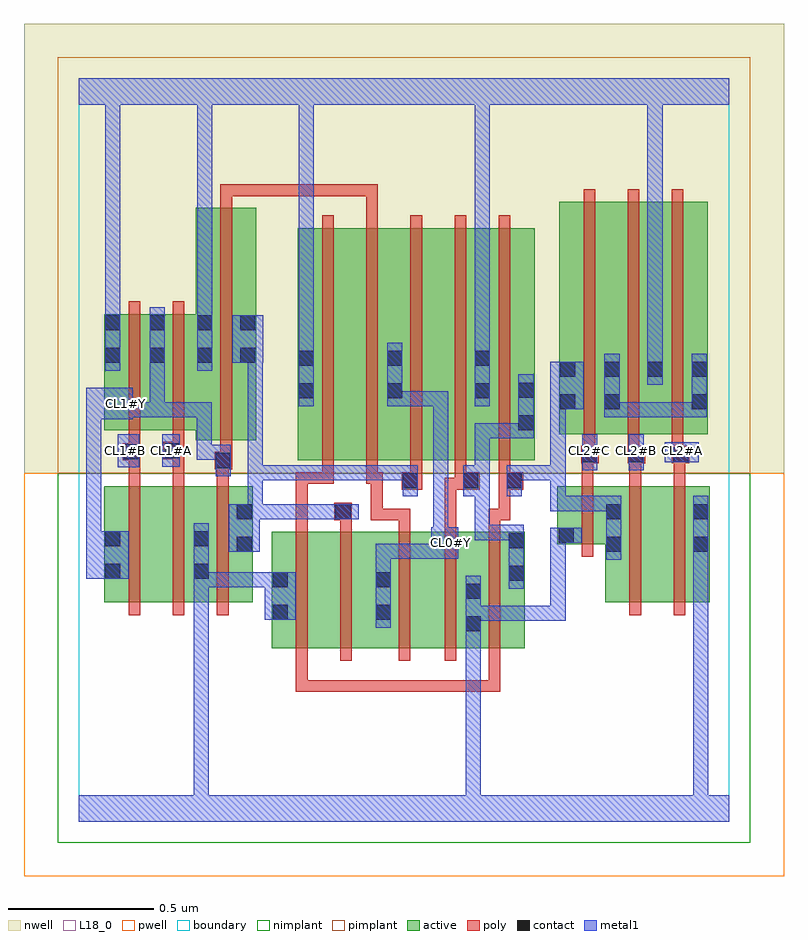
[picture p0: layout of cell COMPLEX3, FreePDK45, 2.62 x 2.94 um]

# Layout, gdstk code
import gdstk
lib = gdstk.Library(unit=1e-6, precision=1e-09)
def R(c, l, rs):  # rectangles x0, y0, x1, y1
    for r in rs: c.add(gdstk.rectangle(r[:2], r[2:], *l))
def A(c, l, x, y, w, h, nx, ny, dx, dy):  # array of equal rectangles
    R(c, l, [(x+i*dx, y+j*dy, x+i*dx+w, y+j*dy+h) for i in range(nx) for j in range(ny)])
active = (1, 0)
pwell = (2, 0)
nwell = (3, 0)
nimplant = (4, 0)
pimplant = (5, 0)
poly = (9, 0)
contact = (10, 0)
metal1 = (11, 0)
L18_0 = (18, 0)
boundary = (235, 0)

complex3 = lib.new_cell('COMPLEX3')
R(complex3, active, [(0.664,0.598,0.724,0.998), (0.664,0.598,0.844,0.998), (0.844,0.598,1.078,0.998), (1.018,0.598,1.078,0.998), (1.018,0.598,1.204,0.998), (1.204,0.598,1.388,0.998), (1.328,0.598,1.388,0.998), (1.328,0.598,1.536,0.998), (1.476,0.598,1.536,0.998), (0.088,0.756,0.148,1.156), (0.088,0.756,0.268,1.156), (0.268,0.756,0.452,1.156), (0.392,0.756,0.6,1.156), (0.392,0.756,0.452,1.004), (0.54,0.756,0.6,1.156), (1.812,0.756,1.992,1.156), (1.992,0.756,2.172,1.156), (2.112,0.756,2.172,1.156), (1.812,0.884,1.872,1.098), (1.648,0.956,1.872,1.156), (1.648,0.956,1.708,1.156), (0.754,1.244,0.814,2.044), (0.754,1.244,0.934,2.044), (0.934,1.244,1.118,2.044), (1.058,1.244,1.118,2.044), (1.058,1.244,1.238,2.044), (1.238,1.244,1.42,2.044), (1.36,1.244,1.42,2.044), (1.36,1.244,1.57,2.044), (1.51,1.244,1.57,2.044), (0.404,1.314,0.612,2.114), (0.552,1.314,0.612,2.044), (1.654,1.334,1.714,2.134), (1.654,1.334,1.866,2.134), (1.806,1.334,1.866,2.134), (1.806,1.334,2.014,2.134), (1.954,1.334,2.166,2.134), (2.106,1.334,2.166,2.134), (0.088,1.348,0.148,1.748), (0.088,1.348,0.3,1.748), (0.24,1.348,0.3,1.748), (0.24,1.348,0.464,1.748), (0.404,1.348,0.464,2.114), (1.954,1.366,2.014,2.134)])
R(complex3, pwell, [(-0.188,-0.188,2.428,1.2)])
R(complex3, nwell, [(-0.188,1.2,2.428,2.748)])
R(complex3, nimplant, [(-0.072,-0.072,2.312,1.2)])
R(complex3, pimplant, [(-0.072,1.2,2.312,2.632)])
A(complex3, poly, 0.172, 0.712, 0.04, 0.488, 3, 1, 0.152, 0)
A(complex3, poly, 0.838, 1.164, 0.04, 0.076, 5, 1, 0.152, 0)
A(complex3, poly, 0.838, 1.2, 0.04, 0.888, 5, 1, 0.152, 0)
A(complex3, poly, 1.738, 1.254, 0.04, 0.076, 3, 1, 0.152, 0)
A(complex3, poly, 1.738, 1.29, 0.04, 0.888, 3, 1, 0.152, 0)
A(complex3, poly, 0.488, 2.154, 0.04, 0.04, 3, 1, 0.106, 0)
R(complex3, poly, [(0.748,0.448,0.788,0.488), (0.748,0.448,0.788,0.488), (0.748,0.448,0.788,0.488), (0.748,0.448,0.788,0.594), (0.748,0.448,1.036,0.488), (0.996,0.448,1.036,0.488), (0.996,0.448,1.036,0.488), (0.996,0.448,1.036,0.488), (0.996,0.448,1.152,0.488), (1.112,0.448,1.152,0.488), (1.112,0.448,1.152,0.488), (1.112,0.448,1.152,0.488), (1.112,0.448,1.346,0.488), (1.306,0.448,1.346,0.488), (1.306,0.448,1.346,0.488), (1.306,0.448,1.346,0.488), (1.306,0.448,1.452,0.488), (1.412,0.448,1.452,0.488), (1.412,0.448,1.452,0.594), (0.748,0.554,0.788,1.042), (0.9,0.554,0.94,1.042), (1.102,0.554,1.142,1.042), (1.26,0.554,1.3,1.042), (1.412,0.554,1.452,1.042), (1.896,0.712,1.936,1.2), (2.048,0.712,2.088,1.2), (1.732,0.912,1.772,1.2), (0.748,1.002,0.788,1.204), (0.9,1.002,0.94,1.078), (1.102,1.002,1.142,1.078), (1.26,1.002,1.3,1.184), (1.412,1.002,1.452,1.078), (0.88,1.038,0.94,1.098), (1.006,1.038,1.046,1.078), (1.006,1.038,1.142,1.078), (1.006,1.038,1.046,1.204), (1.102,1.038,1.142,1.078), (1.412,1.038,1.486,1.078), (1.446,1.038,1.486,1.184), (1.112,1.144,1.182,1.204), (1.26,1.144,1.334,1.184), (1.294,1.144,1.334,1.184), (1.294,1.144,1.38,1.204), (1.446,1.144,1.53,1.204), (0.172,1.16,0.212,1.284), (0.324,1.16,0.364,1.288), (0.476,1.16,0.516,1.254), (1.732,1.16,1.772,1.274), (1.896,1.16,1.936,1.274), (2.048,1.16,2.088,1.274), (0.748,1.164,0.804,1.204), (0.764,1.164,0.804,1.204), (0.764,1.164,0.878,1.204), (0.99,1.164,1.03,1.204), (0.99,1.164,1.046,1.204), (1.006,1.164,1.046,1.204), (0.468,1.214,0.528,1.274), (0.476,1.214,0.516,1.254), (0.476,1.214,0.516,1.254), (0.488,1.234,0.528,1.31), (1.73,1.234,1.79,1.294), (1.732,1.234,1.772,1.274), (1.732,1.234,1.772,1.274), (1.89,1.234,1.95,1.294), (1.896,1.234,1.936,1.274), (1.896,1.234,1.936,1.274), (2.042,1.234,2.102,1.294), (2.048,1.234,2.088,1.274), (2.048,1.234,2.088,1.274), (0.152,1.244,0.212,1.304), (0.292,1.248,0.364,1.308), (0.172,1.264,0.212,1.304), (0.172,1.264,0.212,1.304), (0.172,1.264,0.212,1.344), (0.324,1.268,0.364,1.344), (0.324,1.268,0.364,1.308), (0.324,1.268,0.364,1.308), (0.488,1.27,0.528,2.158), (0.172,1.304,0.212,1.792), (0.324,1.304,0.364,1.792), (0.99,2.048,1.03,2.194), (0.488,2.118,0.528,2.194), (0.488,2.154,0.528,2.194), (0.488,2.154,0.528,2.194), (0.488,2.154,0.634,2.194), (0.594,2.154,0.74,2.194), (0.7,2.154,0.74,2.194), (0.7,2.154,0.74,2.194), (0.7,2.154,1.03,2.194), (0.99,2.154,1.03,2.194)])
R(complex3, contact, [(1.332,0.656,1.384,0.708), (0.668,0.696,0.72,0.748), (1.022,0.696,1.074,0.748), (1.332,0.768,1.384,0.82), (0.668,0.808,0.72,0.86), (1.022,0.808,1.074,0.86), (1.48,0.83,1.532,0.882), (0.092,0.836,0.144,0.888), (0.396,0.836,0.448,0.888), (0.544,0.93,0.596,0.982), (1.816,0.93,1.868,0.982), (2.116,0.93,2.168,0.982), (1.48,0.942,1.532,0.994), (0.092,0.948,0.144,1), (0.396,0.948,0.448,1), (1.652,0.96,1.704,1.012), (0.544,1.042,0.596,1.094), (0.884,1.042,0.936,1.094), (1.816,1.042,1.868,1.094), (2.116,1.042,2.168,1.094), (1.116,1.148,1.168,1.2), (1.324,1.148,1.376,1.2), (1.474,1.148,1.526,1.2), (0.472,1.218,0.524,1.27), (1.734,1.238,1.786,1.29), (1.894,1.238,1.946,1.29), (2.046,1.238,2.098,1.29), (0.156,1.248,0.208,1.3), (0.296,1.252,0.348,1.304), (1.514,1.348,1.566,1.4), (1.658,1.42,1.71,1.472), (1.81,1.42,1.862,1.472), (2.11,1.42,2.162,1.472), (0.758,1.458,0.81,1.51), (1.062,1.458,1.114,1.51), (1.364,1.458,1.416,1.51), (1.514,1.46,1.566,1.512), (1.658,1.532,1.71,1.584), (1.81,1.532,1.862,1.584), (1.958,1.532,2.01,1.584), (2.11,1.532,2.162,1.584), (0.758,1.57,0.81,1.622), (1.062,1.57,1.114,1.622), (1.364,1.57,1.416,1.622), (0.092,1.58,0.144,1.632), (0.244,1.58,0.296,1.632), (0.408,1.58,0.46,1.632), (0.556,1.58,0.608,1.632), (0.092,1.692,0.144,1.744), (0.244,1.692,0.296,1.744), (0.408,1.692,0.46,1.744), (0.556,1.692,0.608,1.744)])
R(complex3, metal1, [(0,0,2.24,0.092), (0.396,0.04,0.448,0.092), (0.396,0.04,0.448,0.092), (0.396,0.04,0.448,0.092), (0.396,0.04,0.448,0.092), (0.396,0.04,0.448,0.092), (0.396,0.04,0.448,0.092), (0.396,0.04,0.448,0.092), (0.396,0.04,0.448,0.092), (0.396,0.04,0.448,0.86), (1.332,0.04,1.384,0.092), (1.332,0.04,1.384,0.092), (1.332,0.04,1.384,0.68), (2.116,0.04,2.168,0.954), (1.332,0.628,1.384,0.848), (1.332,0.628,1.384,0.68), (1.332,0.628,1.384,0.68), (1.332,0.628,1.384,0.68), (1.332,0.628,1.384,0.68), (1.332,0.628,1.384,0.68), (1.332,0.628,1.384,0.68), (1.332,0.628,1.384,0.68), (1.332,0.628,1.384,0.68), (1.332,0.628,1.384,0.68), (1.332,0.628,1.384,0.68), (1.022,0.668,1.074,0.888), (1.332,0.692,1.566,0.744), (1.514,0.692,1.676,0.744), (1.514,0.692,1.566,0.744), (1.514,0.692,1.566,0.744), (1.514,0.692,1.566,0.744), (1.624,0.692,1.676,0.744), (1.624,0.692,1.676,0.744), (1.624,0.692,1.676,0.744), (1.624,0.692,1.676,1.012), (0.64,0.696,0.748,0.86), (1.48,0.802,1.532,1.022), (0.396,0.808,0.448,1.028), (0.396,0.808,0.448,0.86), (0.396,0.808,0.448,0.86), (0.396,0.808,0.448,0.86), (0.396,0.808,0.448,0.86), (0.396,0.808,0.448,0.86), (0.396,0.808,0.448,0.86), (0.396,0.808,0.636,0.86), (0.584,0.808,0.636,0.86), (0.584,0.808,0.692,0.86), (0.026,0.836,0.172,1), (1.022,0.836,1.074,0.958), (1.816,0.902,1.868,1.122), (2.116,0.902,2.168,1.122), (2.116,0.902,2.168,0.954), (2.116,0.902,2.168,0.954), (2.116,0.902,2.168,0.954), (2.116,0.902,2.168,0.954), (2.116,0.902,2.168,0.954), (2.116,0.902,2.168,0.954), (2.116,0.902,2.168,0.954), (2.116,0.902,2.168,0.954), (2.116,0.902,2.168,0.954), (2.116,0.902,2.168,0.954), (2.116,0.902,2.168,0.954), (2.116,0.902,2.168,0.954), (1.022,0.906,1.074,0.958), (1.022,0.906,1.266,0.958), (1.214,0.906,1.266,0.958), (1.214,0.906,1.266,0.958), (1.214,0.906,1.306,1.014), (0.516,0.93,0.624,1.094), (0.026,0.948,0.078,1), (0.026,0.948,0.078,1), (0.026,0.948,0.078,1.438), (1.624,0.96,1.732,1.012), (1.22,0.962,1.272,1.014), (1.22,0.962,1.272,1.014), (1.22,0.962,1.272,1.482), (1.364,0.97,1.416,1.022), (1.364,0.97,1.532,1.022), (1.364,0.97,1.416,1.172), (1.48,0.97,1.532,1.022), (1.48,0.97,1.532,1.022), (1.48,0.97,1.532,1.022), (1.48,0.97,1.532,1.022), (0.572,1.042,0.624,1.094), (0.572,1.042,0.634,1.094), (0.582,1.042,0.634,1.094), (0.582,1.042,0.634,1.094), (0.582,1.042,0.746,1.094), (0.582,1.042,0.634,1.228), (0.694,1.042,0.746,1.094), (0.694,1.042,0.746,1.094), (0.694,1.042,0.746,1.094), (0.694,1.042,0.908,1.094), (0.856,1.042,0.964,1.094), (1.624,1.07,1.676,1.122), (1.624,1.07,1.676,1.122), (1.624,1.07,1.676,1.122), (1.624,1.07,1.868,1.122), (1.624,1.07,1.676,1.228), (1.816,1.07,1.868,1.122), (1.816,1.07,1.868,1.122), (1.116,1.12,1.168,1.228), (1.324,1.12,1.376,1.228), (1.324,1.12,1.416,1.172), (1.364,1.12,1.416,1.172), (1.364,1.12,1.416,1.372), (1.474,1.12,1.526,1.228), (0.582,1.176,0.634,1.228), (0.582,1.176,0.634,1.228), (0.582,1.176,0.634,1.228), (0.582,1.176,0.746,1.228), (0.582,1.176,0.634,1.632), (0.694,1.176,0.746,1.228), (0.694,1.176,0.746,1.228), (0.694,1.176,0.746,1.228), (0.694,1.176,1.004,1.228), (0.952,1.176,1.004,1.228), (0.952,1.176,1.004,1.228), (0.952,1.176,1.004,1.228), (0.952,1.176,1.168,1.228), (1.474,1.176,1.526,1.228), (1.474,1.176,1.526,1.228), (1.474,1.176,1.676,1.228), (1.624,1.176,1.676,1.228), (1.624,1.176,1.676,1.472), (0.472,1.19,0.524,1.298), (1.734,1.21,1.786,1.334), (1.894,1.21,1.946,1.334), (0.134,1.22,0.208,1.334), (0.288,1.222,0.348,1.334), (2.018,1.238,2.134,1.306), (0.406,1.246,0.524,1.298), (0.406,1.246,0.458,1.444), (1.364,1.32,1.416,1.372), (1.364,1.32,1.566,1.372), (1.514,1.32,1.566,1.54), (1.514,1.32,1.566,1.372), (1.514,1.32,1.566,1.372), (0.026,1.386,0.186,1.494), (0.134,1.392,0.296,1.444), (0.134,1.392,0.186,1.444), (0.134,1.392,0.186,1.444), (0.244,1.392,0.296,1.444), (0.244,1.392,0.296,1.444), (0.244,1.392,0.296,1.444), (0.244,1.392,0.458,1.444), (0.244,1.392,0.296,1.604), (1.81,1.392,1.862,1.612), (1.81,1.392,1.862,1.444), (1.81,1.392,1.862,1.444), (1.81,1.392,2.052,1.444), (2,1.392,2.162,1.444), (2,1.392,2.052,1.444), (2,1.392,2.052,1.444), (2,1.392,2.052,1.444), (2.11,1.392,2.162,1.612), (1.624,1.42,1.738,1.584), (0.758,1.43,0.81,1.65), (1.062,1.43,1.114,1.65), (1.062,1.43,1.114,1.482), (1.062,1.43,1.114,1.482), (1.062,1.43,1.272,1.482), (1.22,1.43,1.272,1.482), (1.364,1.43,1.416,1.65), (1.958,1.504,2.01,1.612), (0.092,1.552,0.144,1.772), (0.244,1.552,0.296,1.772), (0.408,1.552,0.46,1.772), (1.958,1.56,2.01,1.612), (1.958,1.56,2.01,1.612), (1.958,1.56,2.01,1.612), (1.958,1.56,2.01,1.612), (1.958,1.56,2.01,2.52), (0.528,1.58,0.636,1.744), (0.758,1.598,0.81,2.52), (1.364,1.598,1.416,1.65), (1.364,1.598,1.416,1.65), (1.364,1.598,1.416,1.65), (1.364,1.598,1.416,1.65), (1.364,1.598,1.416,2.52), (0.092,1.72,0.144,1.772), (0.092,1.72,0.144,1.772), (0.092,1.72,0.144,1.772), (0.092,1.72,0.144,1.772), (0.092,1.72,0.144,2.52), (0.408,1.72,0.46,1.772), (0.408,1.72,0.46,1.772), (0.408,1.72,0.46,2.52), (0,2.468,2.24,2.56), (0.092,2.468,0.144,2.52), (0.092,2.468,0.144,2.52), (0.092,2.468,0.144,2.52), (0.092,2.468,0.144,2.52), (0.092,2.468,0.144,2.52), (0.092,2.468,0.144,2.52), (0.092,2.468,0.144,2.52), (0.092,2.468,0.144,2.52), (0.092,2.468,0.144,2.52), (0.092,2.468,0.144,2.52), (0.092,2.468,0.144,2.52), (0.092,2.468,0.144,2.52), (0.408,2.468,0.46,2.52), (0.408,2.468,0.46,2.52), (0.408,2.468,0.46,2.52), (0.408,2.468,0.46,2.52), (0.408,2.468,0.46,2.52), (0.408,2.468,0.46,2.52), (0.758,2.468,0.81,2.52), (0.758,2.468,0.81,2.52), (0.758,2.468,0.81,2.52), (0.758,2.468,0.81,2.52), (0.758,2.468,0.81,2.52), (0.758,2.468,0.81,2.52), (0.758,2.468,0.81,2.52), (0.758,2.468,0.81,2.52), (1.364,2.468,1.416,2.52), (1.364,2.468,1.416,2.52), (1.364,2.468,1.416,2.52), (1.364,2.468,1.416,2.52), (1.958,2.468,2.01,2.52), (1.958,2.468,2.01,2.52), (1.958,2.468,2.01,2.52), (1.958,2.468,2.01,2.52)])
A(complex3, L18_0, 1.734, 1.254, 0.052, 0.052, 3, 1, 0.16, 0)
R(complex3, L18_0, [(0,0,2.24,0.092), (0.396,0.04,0.448,0.092), (0.396,0.04,0.448,0.092), (0.396,0.04,0.448,0.092), (0.396,0.04,0.448,0.092), (0.396,0.04,0.448,0.092), (0.396,0.04,0.448,0.092), (0.396,0.04,0.448,0.092), (0.396,0.04,0.448,0.092), (0.396,0.04,0.448,0.86), (1.332,0.04,1.384,0.092), (1.332,0.04,1.384,0.092), (1.332,0.04,1.384,0.68), (2.116,0.04,2.168,0.954), (1.332,0.628,1.384,0.68), (1.332,0.628,1.384,0.68), (1.332,0.628,1.384,0.68), (1.332,0.628,1.384,0.68), (1.332,0.628,1.384,0.68), (1.332,0.628,1.384,0.68), (1.332,0.628,1.384,0.68), (1.332,0.628,1.384,0.68), (1.332,0.628,1.384,0.68), (1.332,0.628,1.384,0.68), (1.332,0.628,1.384,0.848), (1.022,0.668,1.074,0.888), (1.332,0.692,1.566,0.744), (1.514,0.692,1.566,0.744), (1.514,0.692,1.566,0.744), (1.514,0.692,1.566,0.744), (1.514,0.692,1.676,0.744), (1.624,0.692,1.676,0.744), (1.624,0.692,1.676,0.744), (1.624,0.692,1.676,0.744), (1.624,0.692,1.676,1.012), (0.64,0.696,0.748,0.86), (0.396,0.808,0.448,0.86), (0.396,0.808,0.448,0.86), (0.396,0.808,0.448,0.86), (0.396,0.808,0.448,0.86), (0.396,0.808,0.448,0.86), (0.396,0.808,0.448,0.86), (0.396,0.808,0.448,1.028), (0.396,0.808,0.636,0.86), (0.584,0.808,0.636,0.86), (0.584,0.808,0.692,0.86), (0.026,0.836,0.172,1), (1.022,0.836,1.074,0.958), (2.116,0.902,2.168,0.954), (2.116,0.902,2.168,0.954), (2.116,0.902,2.168,0.954), (2.116,0.902,2.168,0.954), (2.116,0.902,2.168,0.954), (2.116,0.902,2.168,0.954), (2.116,0.902,2.168,0.954), (2.116,0.902,2.168,0.954), (2.116,0.902,2.168,0.954), (2.116,0.902,2.168,0.954), (2.116,0.902,2.168,0.954), (2.116,0.902,2.168,0.954), (2.116,0.902,2.168,1.122), (1.022,0.906,1.074,0.958), (1.022,0.906,1.266,0.958), (1.214,0.906,1.266,0.958), (1.214,0.906,1.266,0.958), (1.214,0.906,1.306,1.014), (1.254,0.934,1.306,0.986), (0.026,0.948,0.078,1), (0.026,0.948,0.078,1), (0.026,0.948,0.078,1.438), (1.624,0.96,1.732,1.012), (1.22,0.962,1.272,1.014), (1.22,0.962,1.272,1.014), (1.22,0.962,1.272,1.482), (0.472,1.19,0.524,1.298), (1.734,1.21,1.786,1.334), (1.894,1.21,1.946,1.334), (0.134,1.22,0.208,1.334), (0.288,1.222,0.348,1.334), (2.018,1.238,2.134,1.306), (0.406,1.246,0.458,1.444), (0.406,1.246,0.524,1.298), (0.134,1.254,0.186,1.306), (0.294,1.254,0.346,1.306), (0.026,1.386,0.186,1.494), (0.134,1.392,0.186,1.444), (0.134,1.392,0.186,1.444), (0.134,1.392,0.296,1.444), (0.244,1.392,0.296,1.444), (0.244,1.392,0.296,1.444), (0.244,1.392,0.296,1.444), (0.244,1.392,0.296,1.604), (0.244,1.392,0.458,1.444), (0.134,1.414,0.186,1.466), (0.758,1.43,0.81,1.65), (1.062,1.43,1.114,1.482), (1.062,1.43,1.114,1.482), (1.062,1.43,1.114,1.65), (1.062,1.43,1.272,1.482), (1.22,1.43,1.272,1.482), (1.364,1.43,1.416,1.65), (1.958,1.504,2.01,1.612), (0.092,1.552,0.144,1.772), (0.244,1.552,0.296,1.772), (0.408,1.552,0.46,1.772), (1.958,1.56,2.01,1.612), (1.958,1.56,2.01,1.612), (1.958,1.56,2.01,1.612), (1.958,1.56,2.01,1.612), (1.958,1.56,2.01,2.52), (0.758,1.598,0.81,2.52), (1.364,1.598,1.416,1.65), (1.364,1.598,1.416,1.65), (1.364,1.598,1.416,1.65), (1.364,1.598,1.416,1.65), (1.364,1.598,1.416,2.52), (0.092,1.72,0.144,1.772), (0.092,1.72,0.144,1.772), (0.092,1.72,0.144,1.772), (0.092,1.72,0.144,1.772), (0.092,1.72,0.144,2.52), (0.408,1.72,0.46,1.772), (0.408,1.72,0.46,1.772), (0.408,1.72,0.46,2.52), (0,2.468,2.24,2.56), (0.092,2.468,0.144,2.52), (0.092,2.468,0.144,2.52), (0.092,2.468,0.144,2.52), (0.092,2.468,0.144,2.52), (0.092,2.468,0.144,2.52), (0.092,2.468,0.144,2.52), (0.092,2.468,0.144,2.52), (0.092,2.468,0.144,2.52), (0.092,2.468,0.144,2.52), (0.092,2.468,0.144,2.52), (0.092,2.468,0.144,2.52), (0.092,2.468,0.144,2.52), (0.408,2.468,0.46,2.52), (0.408,2.468,0.46,2.52), (0.408,2.468,0.46,2.52), (0.408,2.468,0.46,2.52), (0.408,2.468,0.46,2.52), (0.408,2.468,0.46,2.52), (0.758,2.468,0.81,2.52), (0.758,2.468,0.81,2.52), (0.758,2.468,0.81,2.52), (0.758,2.468,0.81,2.52), (0.758,2.468,0.81,2.52), (0.758,2.468,0.81,2.52), (0.758,2.468,0.81,2.52), (0.758,2.468,0.81,2.52), (1.364,2.468,1.416,2.52), (1.364,2.468,1.416,2.52), (1.364,2.468,1.416,2.52), (1.364,2.468,1.416,2.52), (1.958,2.468,2.01,2.52), (1.958,2.468,2.01,2.52), (1.958,2.468,2.01,2.52), (1.958,2.468,2.01,2.52)])
R(complex3, boundary, [(0,0,2.24,2.56)])
complex3.add(gdstk.Label('CL0#Y', (1.28,0.96), layer=11, texttype=0))
complex3.add(gdstk.Label('CL1#A', (0.32,1.28), layer=11, texttype=0))
complex3.add(gdstk.Label('CL1#B', (0.16,1.28), layer=11, texttype=0))
complex3.add(gdstk.Label('CL1#Y', (0.16,1.44), layer=11, texttype=0))
complex3.add(gdstk.Label('CL2#A', (2.08,1.28), layer=11, texttype=0))
complex3.add(gdstk.Label('CL2#B', (1.92,1.28), layer=11, texttype=0))
complex3.add(gdstk.Label('CL2#C', (1.76,1.28), layer=11, texttype=0))

lib.write_gds('COMPLEX3.gds')
